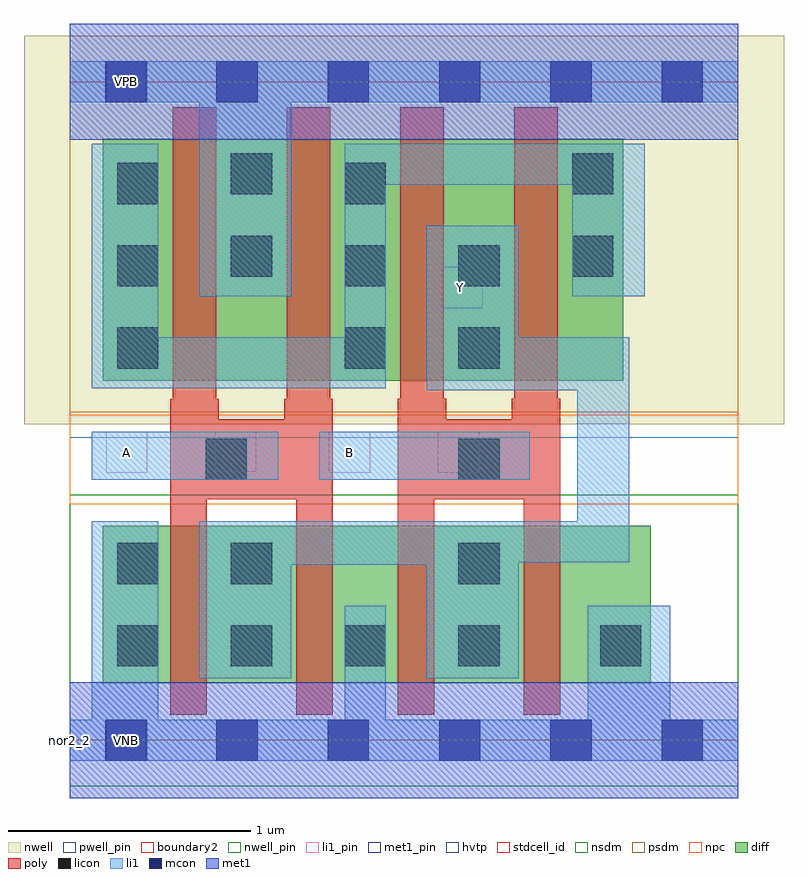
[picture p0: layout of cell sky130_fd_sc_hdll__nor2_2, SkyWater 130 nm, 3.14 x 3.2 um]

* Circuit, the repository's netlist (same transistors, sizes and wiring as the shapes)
* Copyright 2020 The SkyWater PDK Authors
*
* Licensed under the Apache License, Version 2.0 (the "License");
* you may not use this file except in compliance with the License.
* You may obtain a copy of the License at
*
*     https://www.apache.org/licenses/LICENSE-2.0
*
* Unless required by applicable law or agreed to in writing, software
* distributed under the License is distributed on an "AS IS" BASIS,
* WITHOUT WARRANTIES OR CONDITIONS OF ANY KIND, either express or implied.
* See the License for the specific language governing permissions and
* limitations under the License.
*
* SPDX-License-Identifier: Apache-2.0

.SUBCKT sky130_fd_sc_hdll__nor2_2 A B VGND VNB VPB VPWR Y
*.PININFO A:I B:I VGND:I VNB:I VPB:I VPWR:I Y:O
MMP0 VPWR A sndPA VPB sky130_fd_pr__pfet_01v8_hvt m=2 w=1.0U l=0.18U mult=1 sa=0.265
+ sb=0.265 sd=0.28 area=0.063 perim=1.14
MMP1 sndPA B Y VPB sky130_fd_pr__pfet_01v8_hvt m=2 w=1.0U l=0.18U mult=1 sa=0.265
+ sb=0.265 sd=0.28 area=0.063 perim=1.14
MMN0 Y A VGND VNB sky130_fd_pr__nfet_01v8 m=2 w=0.65U l=0.15U mult=1 sa=0.265 sb=0.265
+ sd=0.28 area=0.063 perim=1.14
MMN1 Y B VGND VNB sky130_fd_pr__nfet_01v8 m=2 w=0.65U l=0.15U mult=1 sa=0.265 sb=0.265
+ sd=0.28 area=0.063 perim=1.14
.ENDS sky130_fd_sc_hdll__nor2_2

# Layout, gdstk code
import gdstk
lib = gdstk.Library(unit=1e-6, precision=1e-09)
def R(c, l, rs):  # rectangles x0, y0, x1, y1
    for r in rs: c.add(gdstk.rectangle(r[:2], r[2:], *l))
def A(c, l, x, y, w, h, nx, ny, dx, dy):  # array of equal rectangles
    R(c, l, [(x+i*dx, y+j*dy, x+i*dx+w, y+j*dy+h) for i in range(nx) for j in range(ny)])
def P(c, l, *ps):  # polygons
    for p in ps: c.add(gdstk.Polygon(p, *l))
nwell_pin = (64, 16)
nwell = (64, 20)
diff = (65, 20)
poly = (66, 20)
licon = (66, 44)
li1_pin = (67, 16)
li1 = (67, 20)
mcon = (67, 44)
met1_pin = (68, 16)
met1 = (68, 20)
hvtp = (78, 44)
stdcell_id = (81, 4)
nsdm = (93, 44)
psdm = (94, 20)
npc = (95, 20)
pwell_pin = (122, 16)
boundary2 = (236, 0)

sky130_fd_sc_hdll__nor2_ = lib.new_cell('sky130_fd_sc_hdll__nor2_2')
R(sky130_fd_sc_hdll__nor2_, nwell_pin, [(0.15,2.635,0.32,2.805)])
R(sky130_fd_sc_hdll__nor2_, nwell, [(-0.19,1.305,2.95,2.91)])
R(sky130_fd_sc_hdll__nor2_, diff, [(0.135,0.235,2.4,0.885), (0.135,1.485,2.285,2.485)])
P(sky130_fd_sc_hdll__nor2_, poly, [(1.085,1.41),(1.075,1.41),(1.075,2.615),(0.895,2.615),(0.895,1.41),(0.885,1.41),(0.885,1.325),(0.615,1.325),(0.615,1.41),(0.605,1.41),(0.605,2.615),(0.425,2.615),(0.425,1.41),(0.415,1.41),(0.415,0.105),(0.565,0.105),(0.565,0.995),(0.935,0.995),(0.935,0.105),(1.085,0.105)],
  [(2.025,1.41),(2.015,1.41),(2.015,2.615),(1.835,2.615),(1.835,1.41),(1.825,1.41),(1.825,1.325),(1.555,1.325),(1.555,1.41),(1.545,1.41),(1.545,2.615),(1.365,2.615),(1.365,1.41),(1.355,1.41),(1.355,0.105),(1.505,0.105),(1.505,0.995),(1.875,0.995),(1.875,0.105),(2.025,0.105)])
A(sky130_fd_sc_hdll__nor2_, licon, 0.195, 0.305, 0.17, 0.17, 4, 1, 0.47, 0)
A(sky130_fd_sc_hdll__nor2_, licon, 0.195, 1.535, 0.17, 0.17, 1, 3, 0, 0.34)
A(sky130_fd_sc_hdll__nor2_, licon, 1.135, 1.535, 0.17, 0.17, 1, 3, 0, 0.34)
R(sky130_fd_sc_hdll__nor2_, licon, [(2.19,0.305,2.36,0.475), (0.195,0.645,0.365,0.815), (0.665,0.645,0.835,0.815), (1.605,0.645,1.775,0.815), (0.56,1.075,0.73,1.245), (1.605,1.075,1.775,1.245), (1.605,1.535,1.775,1.705), (1.605,1.875,1.775,2.045), (0.665,1.915,0.835,2.085), (2.075,1.915,2.245,2.085), (0.665,2.255,0.835,2.425), (2.075,2.255,2.245,2.425)])
R(sky130_fd_sc_hdll__nor2_, li1_pin, [(0.15,1.105,0.32,1.275), (1.07,1.105,1.24,1.275), (1.52,1.105,1.69,1.275), (0.6,1.11,0.77,1.275), (1.535,1.785,1.705,1.955)])
R(sky130_fd_sc_hdll__nor2_, li1, [(0.09,1.075,0.86,1.275), (1.03,1.075,1.9,1.275)])
P(sky130_fd_sc_hdll__nor2_, li1, [(2.76,0.085),(2.48,0.085),(2.48,0.555),(2.14,0.555),(2.14,0.085),(1.305,0.085),(1.305,0.555),(1.135,0.555),(1.135,0.085),(0.365,0.085),(0.365,0.905),(0.09,0.905),(0.09,0.085),(0,0.085),(0,-0.085),(2.76,-0.085)],
  [(2.76,2.805),(0,2.805),(0,2.635),(0.535,2.635),(0.535,1.835),(0.915,1.835),(0.915,2.635),(2.76,2.635)],
  [(2.31,1.665),(1.855,1.665),(1.855,2.125),(1.475,2.125),(1.475,1.445),(2.095,1.445),(2.095,0.905),(0.535,0.905),(0.535,0.255),(0.915,0.255),(0.915,0.725),(1.475,0.725),(1.475,0.255),(1.855,0.255),(1.855,0.735),(2.31,0.735)],
  [(2.375,2.465),(1.135,2.465),(1.135,1.665),(0.365,1.665),(0.365,2.465),(0.09,2.465),(0.09,1.455),(1.305,1.455),(1.305,2.295),(2.075,2.295),(2.075,1.835),(2.375,1.835)])
A(sky130_fd_sc_hdll__nor2_, mcon, 0.145, -0.085, 0.17, 0.17, 6, 2, 0.46, 2.72)
R(sky130_fd_sc_hdll__nor2_, met1_pin, [(0.15,-0.085,0.32,0.085), (0.15,2.635,0.32,2.805)])
R(sky130_fd_sc_hdll__nor2_, met1, [(0,-0.24,2.76,0.24), (0,2.48,2.76,2.96)])
R(sky130_fd_sc_hdll__nor2_, hvtp, [(0,1.25,2.76,2.72)])
R(sky130_fd_sc_hdll__nor2_, stdcell_id, [(0,0,2.76,2.72)])
R(sky130_fd_sc_hdll__nor2_, nsdm, [(0,-0.19,2.76,1.015)])
R(sky130_fd_sc_hdll__nor2_, psdm, [(0,1.355,2.76,2.91)])
R(sky130_fd_sc_hdll__nor2_, npc, [(0,0.975,2.76,1.345)])
R(sky130_fd_sc_hdll__nor2_, pwell_pin, [(0.15,-0.085,0.32,0.085)])
R(sky130_fd_sc_hdll__nor2_, boundary2, [(0,0,2.76,2.72)])
sky130_fd_sc_hdll__nor2_.add(gdstk.Label('B', (1.155,1.19), layer=67, texttype=5))
sky130_fd_sc_hdll__nor2_.add(gdstk.Label('Y', (1.615,1.87), layer=67, texttype=5))
sky130_fd_sc_hdll__nor2_.add(gdstk.Label('A', (0.235,1.19), layer=67, texttype=5))
sky130_fd_sc_hdll__nor2_.add(gdstk.Label('VPB', (0.235,2.72), layer=64, texttype=5))
sky130_fd_sc_hdll__nor2_.add(gdstk.Label('VNB', (0.235,0), layer=64, texttype=59))
sky130_fd_sc_hdll__nor2_.add(gdstk.Label('VGND', (0.235,0), layer=68, texttype=5))
sky130_fd_sc_hdll__nor2_.add(gdstk.Label('VPWR', (0.235,2.72), layer=68, texttype=5))
sky130_fd_sc_hdll__nor2_.add(gdstk.Label('nor2_2', (0,0), layer=83, texttype=44))

lib.write_gds('sky130_fd_sc_hdll__nor2_2.gds')
